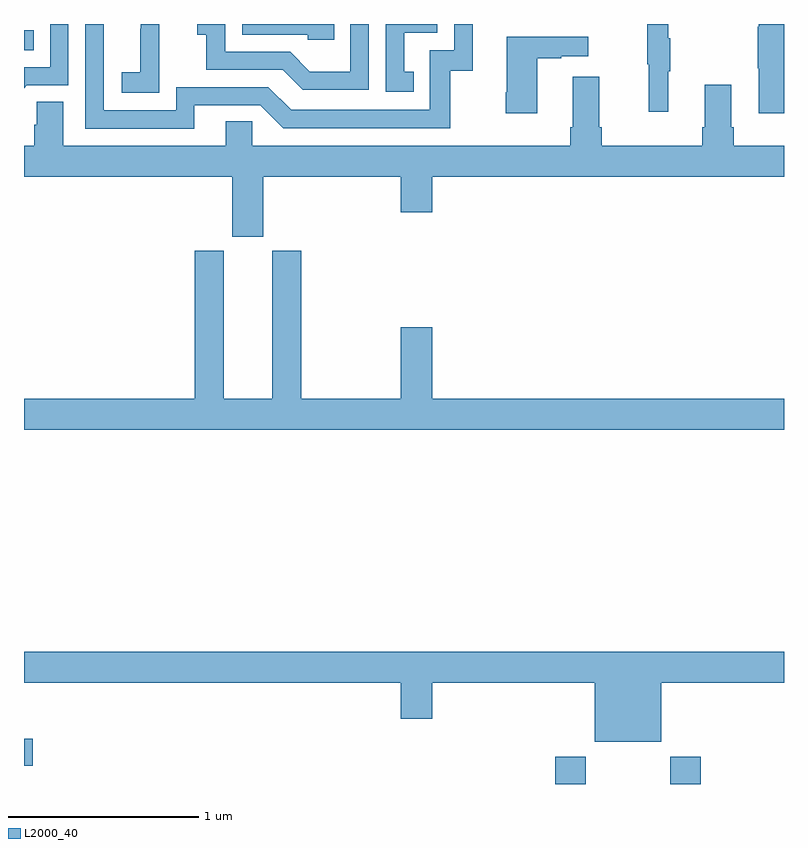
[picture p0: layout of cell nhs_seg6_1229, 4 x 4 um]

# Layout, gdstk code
import gdstk
lib = gdstk.Library(unit=1e-6, precision=1e-09)
def R(c, l, rs):  # rectangles x0, y0, x1, y1
    for r in rs: c.add(gdstk.rectangle(r[:2], r[2:], *l))
def P(c, l, *ps):  # polygons
    for p in ps: c.add(gdstk.Polygon(p, *l))
L2000_40 = (2000, 40)

nhs_seg6_1229 = lib.new_cell('nhs_seg6_1229')
R(nhs_seg6_1229, L2000_40, [(189.797,917.5,189.957,917.644), (190.402,917.5,190.562,917.644), (187,917.597,187.045,917.739), (187,921.362,187.052,921.466)])
P(nhs_seg6_1229, L2000_40, [(189.05,921.249),(189.001,921.249),(189.001,921.453),(189.174,921.453),(189.174,921.5),(188.904,921.5),(188.904,921.144),(189.05,921.144)],
  [(188.633,921.5),(188.148,921.5),(188.148,921.444),(188.493,921.444),(188.493,921.417),(188.633,921.417)],
  [(187.713,921.343),(187.712,921.343),(187.712,921.5),(187.614,921.5),(187.614,921.476),(187.613,921.476),(187.613,921.247),(187.515,921.247),(187.515,921.137),(187.713,921.137)],
  [(188.814,921.5),(188.718,921.5),(188.718,921.25),(188.504,921.25),(188.4,921.354),(188.058,921.354),(188.058,921.5),(187.911,921.5),(187.911,921.443),(187.96,921.443),(187.96,921.258),(188.363,921.258),(188.468,921.153),(188.814,921.153)],
  [(187.897,921.072),(188.244,921.072),(188.364,920.952),(189.244,920.952),(189.244,921.255),(189.362,921.255),(189.362,921.5),(189.264,921.5),(189.264,921.363),(189.135,921.363),(189.135,921.048),(188.406,921.048),(188.286,921.168),(187.8,921.168),(187.8,921.045),(187.419,921.045),(187.419,921.5),(187.323,921.5),(187.323,920.949),(187.897,920.949)],
  [(187.014,921.177),(187.233,921.177),(187.233,921.5),(187.137,921.5),(187.137,921.273),(187,921.273),(187,921.163)],
  [(191,921.5),(190.868,921.5),(190.868,921.485),(190.861,921.485),(190.861,921.268),(190.868,921.268),(190.868,921.03),(191,921.03)],
  [(190.391,921.251),(190.402,921.251),(190.402,921.425),(190.391,921.425),(190.391,921.5),(190.281,921.5),(190.281,921.288),(190.288,921.288),(190.288,921.039),(190.391,921.039)],
  [(189.7,921.319),(189.827,921.319),(189.827,921.329),(189.97,921.329),(189.97,921.433),(189.542,921.433),(189.542,921.142),(189.535,921.142),(189.535,921.03),(189.7,921.03)],
  [(188.26,920.696),(188.984,920.696),(188.984,920.508),(189.148,920.508),(189.148,920.696),(191,920.696),(191,920.86),(190.736,920.86),(190.736,920.956),(190.723,920.956),(190.723,921.181),(190.583,921.181),(190.583,920.956),(190.571,920.956),(190.571,920.86),(190.04,920.86),(190.04,920.956),(190.027,920.956),(190.027,921.223),(189.887,921.223),(189.887,920.956),(189.875,920.956),(189.875,920.86),(188.202,920.86),(188.202,920.987),(188.063,920.987),(188.063,920.86),(187.207,920.86),(187.207,921.092),(187.068,921.092),(187.068,920.969),(187.055,920.969),(187.055,920.86),(187,920.86),(187,920.696),(188.096,920.696),(188.096,920.379),(188.26,920.379)],
  [(191,919.528),(189.148,919.528),(189.148,919.903),(188.984,919.903),(188.984,919.528),(188.459,919.528),(188.459,920.307),(188.306,920.307),(188.306,919.528),(188.05,919.528),(188.05,920.307),(187.898,920.307),(187.898,919.528),(187,919.528),(187,919.364),(191,919.364)],
  [(190.354,918.032),(191,918.032),(191,918.196),(187,918.196),(187,918.032),(188.984,918.032),(188.984,917.844),(189.148,917.844),(189.148,918.032),(190.004,918.032),(190.004,917.723),(190.354,917.723)])

lib.write_gds('nhs_seg6_1229.gds')
